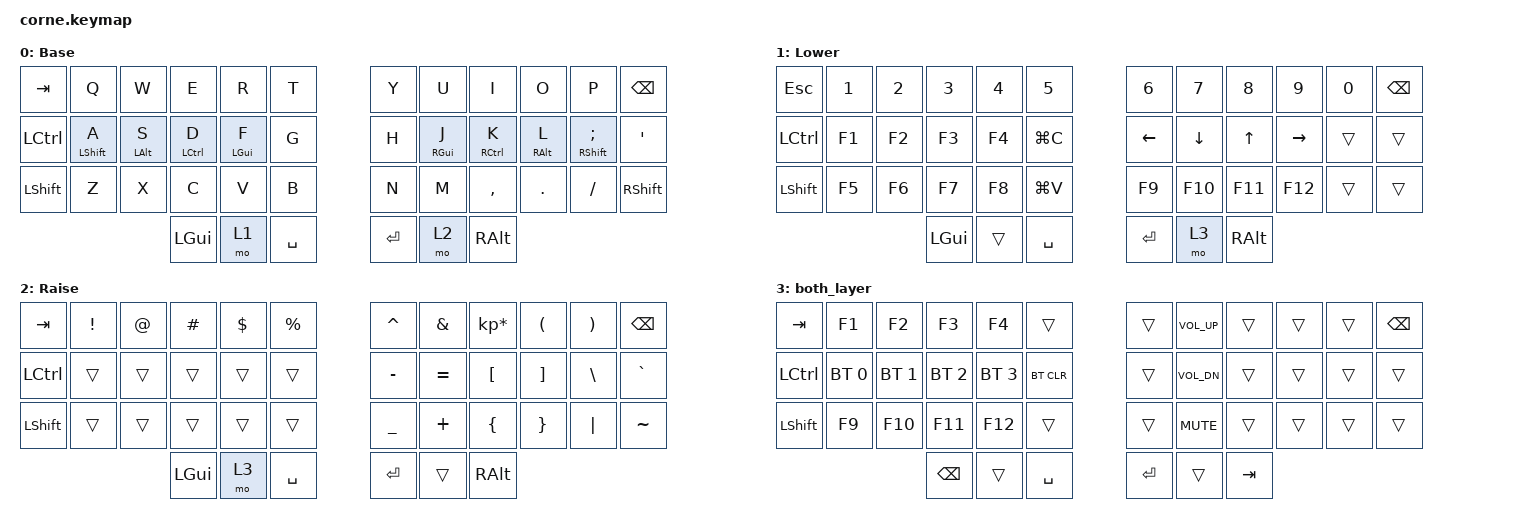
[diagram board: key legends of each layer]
/*
 * Copyright (c) 2020 The ZMK Contributors
 *
 * SPDX-License-Identifier: MIT
 */

#include <behaviors.dtsi>
#include <dt-bindings/zmk/bt.h>
#include <dt-bindings/zmk/keys.h>

#define default_layer 0
#define lower_layer   1
#define raise_layer   2
#define both_layer    3

/ {
    combos {
        compatible = "zmk,combos";

        combo_caps_word {
            timeout-ms = <300>;
            key-positions = <24 35>;
            bindings = <&caps_word>;
        };
    };
};

/ {
    behaviors {
        HomeMods: HomeMods {
            compatible = "zmk,behavior-hold-tap";
            label = "HOMEMODS";
            bindings = <&kp>, <&kp>;

            #binding-cells = <2>;
            tapping-term-ms = <200>;
            hold-trigger-key-positions = <13 14 15 16 19 20 21 22>;
        };
    };
};

/ {
    keymap {
        compatible = "zmk,keymap";

        default_layer {
            display-name = "Base";
            bindings = <
&kp TAB    &kp Q  &kp W  &kp E     &kp R  &kp T        &kp Y    &kp U  &kp I      &kp O    &kp P     &kp BSPC
&kp LCTRL  &HomeMods LEFT_SHIFT A  &HomeMods LEFT_ALT S  &HomeMods LCTRL D  &HomeMods LGUI F  &kp G        &kp H    &HomeMods RGUI J  &HomeMods RCTRL K  &HomeMods RIGHT_ALT L  &HomeMods RIGHT_SHIFT SEMI  &kp SQT
&kp LSHFT  &kp Z  &kp X  &kp C     &kp V  &kp B        &kp N    &kp M  &kp COMMA  &kp DOT  &kp FSLH  &kp RIGHT_SHIFT
                         &kp LGUI  &mo 1  &kp SPACE    &kp RET  &mo 2  &kp RALT
            >;
        };

        lower_layer {
            display-name = "Lower";
            bindings = <
&kp ESCAPE  &kp N1  &kp N2  &kp N3    &kp N4  &kp N5       &kp N6   &kp N7   &kp N8    &kp N9    &kp N0     &kp BSPC
&kp LCTRL   &kp F1  &kp F2  &kp F3    &kp F4  &kp LG(C)    &kp LEFT &kp DOWN &kp UP    &kp RIGHT &trans     &trans
&kp LSHFT   &kp F5  &kp F6  &kp F7    &kp F8  &kp LG(V)    &kp F9   &kp F10  &kp F11   &kp F12   &trans     &trans
                            &kp LGUI  &trans  &kp SPACE    &kp RET  &mo 3   &kp RALT
            >;
        };

        raise_layer {
            display-name = "Raise";
            bindings = <
&kp TAB    &kp EXCL      &kp AT        &kp HASH      &kp DLLR      &kp PRCNT     &kp CARET  &kp AMPS   &kp KP_MULTIPLY  &kp LPAR  &kp RPAR  &kp BSPC
&kp LCTRL  &trans        &trans        &trans        &trans        &trans        &kp MINUS  &kp EQUAL  &kp LBKT         &kp RBKT  &kp BSLH  &kp GRAVE
&kp LSHFT  &trans        &trans        &trans        &trans        &trans        &kp UNDER  &kp PLUS   &kp LBRC         &kp RBRC  &kp PIPE  &kp TILDE
                                       &kp LGUI      &mo 3        &kp SPACE      &kp RET    &trans     &kp RALT
            >;
        };

        both_layer {
            bindings = <
&kp TAB    &kp F1         &kp F2           &kp F3        &kp F4       &trans       &trans  &kp C_VOL_UP      &trans        &trans     &trans   &kp BSPC
&kp LCTRL  &bt BT_SEL 0   &bt BT_SEL 1     &bt BT_SEL 2  &bt BT_SEL 3 &bt BT_CLR   &trans  &kp C_VOL_DN      &trans        &trans     &trans   &trans
&kp LSHFT  &kp F9         &kp F10          &kp F11       &kp F12      &trans       &trans  &kp C_MUTE        &trans        &trans     &trans   &trans
                          &kp BACKSPACE    &trans        &kp SPACE                 &kp RET &trans            &kp TAB
            >;
        };
    };
};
